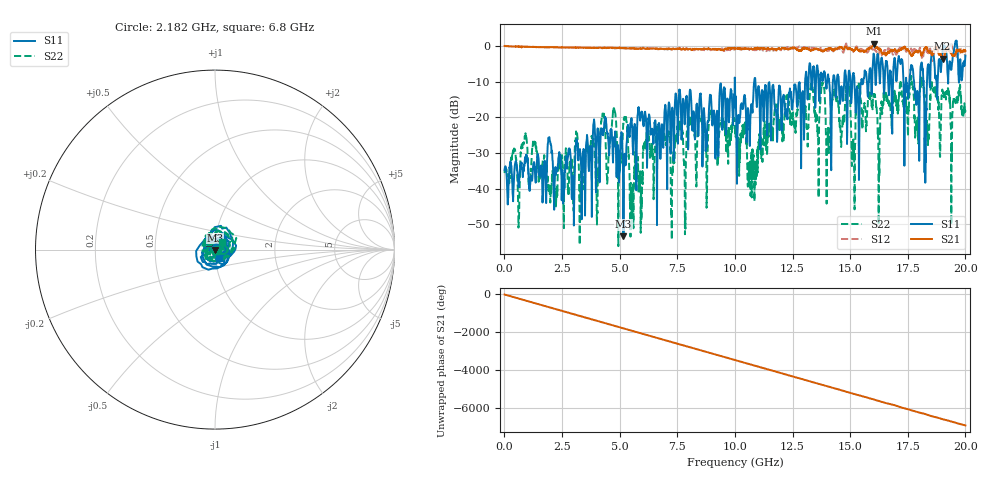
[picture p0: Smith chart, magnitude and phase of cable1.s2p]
! S Parameters saved at 10:38:39 06/22/07
# HZ DB S R 50
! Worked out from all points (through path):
!   1897 points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, 10.54 MHz to 20 GHz, reference 50 ohm
!   highest |S21| = 0.64 dB at 16.04 GHz (marker M1); lowest = -3.6 dB at 19.01 GHz (marker M2)
!   group delay of S21, straight-line fit = 963 ps
!   lowest |S11| = -53.3 dB at 5.166 GHz (marker M3), VSWR 1.00, Z = 50 - j0.215 ohm
!   |S11| at or under -10 dB: start of sweep to 9.993 GHz; 10.01 GHz to 10.84 GHz (831.9 MHz wide, 7.98 % of centre); 10.89 GHz to 13.05 GHz (2.156 GHz wide, 18 % of centre)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
!   |S22| runs from -56.1 to -8.4 dB; largest |S21 - S12| = 0.37
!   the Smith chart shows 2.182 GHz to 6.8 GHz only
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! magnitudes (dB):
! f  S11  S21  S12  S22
! 10.54 MHz  -34.8  -0.1  0.0  -35.6
! 3.131 GHz  -26.2  -0.6  -0.5  -24.1
! 3.342 GHz  -38.6  -0.5  -0.5  -37.4
! 4.259 GHz  -24.9  -0.7  -0.5  -19.0
! 4.997 GHz  -35.6  -0.4  -0.7  -31.3
! 5.166 GHz  -53.3  -0.7  -0.7  -21.9
! 5.535 GHz  -22.8  -0.7  -0.8  -40.7
! 6.674 GHz  -23.2  -0.8  -1.0  -23.8
! 7.296 GHz  -17.9  -0.8  -0.9  -34.5
! 7.591 GHz  -12.2  -0.7  -0.4  -21.7
! 10.01 GHz  -9.4  -0.7  -0.9  -24.9
! 10.64 GHz  -27.0  -1.0  -1.1  -34.9
! 13.34 GHz  -12.0  -1.2  -0.6  -11.0
! 14.04 GHz  -8.0  -0.8  -1.4  -23.0
! 14.91 GHz  -11.4  -0.9  -0.7  -10.5
! 15.13 GHz  -7.7  -1.3  -1.6  -26.5
! 15.36 GHz  -18.9  -1.3  -1.1  -11.1
! 16.04 GHz  -2.6  0.6  -0.4  -13.5
! 16.67 GHz  -12.7  -1.5  -0.8  -15.4
! 18.26 GHz  -38.3  -0.4  -1.3  -16.7
! 19.01 GHz  -1.6  -3.6  -1.9  -12.7
! 20 GHz  -2.7  -1.5  -3.1  -18.0
